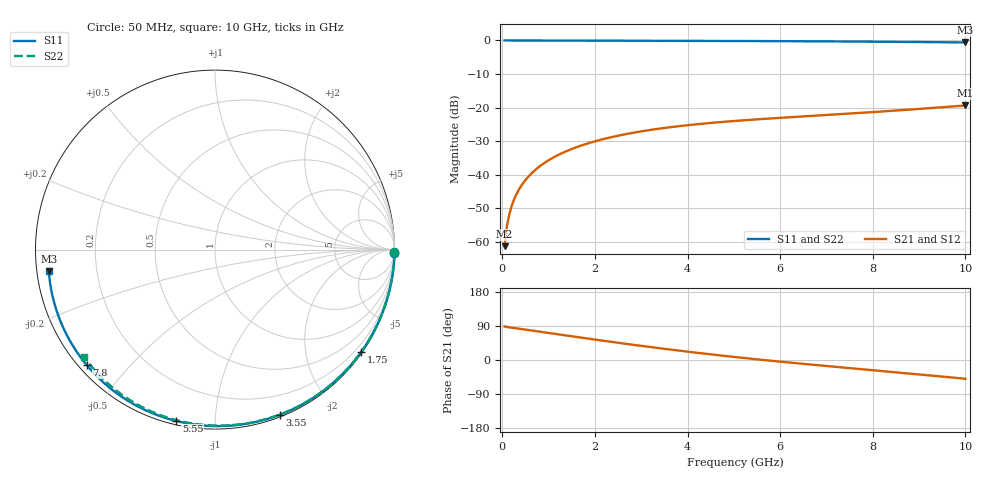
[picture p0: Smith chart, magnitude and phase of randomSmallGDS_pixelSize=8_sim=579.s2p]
! freq	dB(S11)	phase(S11)	dB(S12)	phase(S12)
!  dB(S21)	phase(S21)	dB(S22)	phase(S22)
!S-par simulation data
#  GHz  S  DB  R 50
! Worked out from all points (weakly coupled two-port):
!   200 points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, 50 MHz to 10 GHz, reference 50 ohm
!   highest |S21| = -19.39 dB at 10 GHz (marker M1); lowest = -61.3 dB at 50 MHz (marker M2)
!   lowest |S11| = -0.6 dB at 10 GHz (marker M3), VSWR 29.15, Z = 1.72 - j3.23 ohm
!   |S11| at or under -10 dB: nowhere
!   |S22| runs from -0.5 to 0.0 dB; largest |S21 - S12| = 0
!   S11 on the Smith chart (normalised r, x): 50 MHz: open; 1.75 GHz: 0.03, -3.17; 3.55 GHz: 0.02, -1.46; 5.55 GHz: 0.02, -0.80; 7.8 GHz: 0.02, -0.38; 10 GHz: 0.03, -0.06
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0.05  -0.00 -1.0  -61.32 88.5  -61.32 88.5  -0.00 -0.8
0.1  -0.00 -2.0  -55.36 87.3  -55.36 87.3  -0.00 -1.7
0.15  -0.00 -3.1  -51.89 86.2  -51.89 86.2  -0.00 -2.5
0.2  -0.00 -4.1  -49.44 85.3  -49.44 85.3  -0.00 -3.3
0.25  -0.00 -5.1  -47.54 84.4  -47.54 84.4  -0.00 -4.1
0.35  -0.01 -7.1  -44.67 82.7  -44.67 82.7  -0.00 -5.8
0.5  -0.01 -10.2  -41.61 80.2  -41.61 80.2  -0.01 -8.3
0.7  -0.02 -14.2  -38.74 76.7  -38.74 76.7  -0.01 -11.5
1  -0.03 -20.2  -35.71 71.4  -35.71 71.4  -0.02 -16.4
1.35  -0.04 -27.1  -33.21 65.2  -33.21 65.2  -0.03 -22.1
1.75  -0.05 -35.0  -31.12 58.2  -31.12 58.2  -0.04 -28.5
2.6  -0.07 -51.2  -28.10 43.8  -28.10 43.8  -0.06 -41.9
3.4  -0.10 -66.0  -26.27 31.0  -26.27 31.0  -0.08 -54.1
3.55  -0.10 -68.7  -25.99 28.7  -25.99 28.7  -0.09 -56.3
4.3  -0.13 -81.8  -24.84 17.7  -24.84 17.7  -0.11 -67.3
5.05  -0.16 -94.5  -23.96 7.5  -23.96 7.5  -0.13 -77.9
5.55  -0.18 -102.7  -23.47 1.1  -23.47 1.1  -0.15 -84.8
6.7  -0.25 -121.0  -22.48 -12.4  -22.48 -12.4  -0.21 -100.0
7.8  -0.34 -138.0  -21.54 -24.5  -21.54 -24.5  -0.29 -113.9
8.35  -0.39 -146.5  -21.04 -30.5  -21.04 -30.5  -0.33 -120.7
9.2  -0.49 -159.7  -20.21 -40.1  -20.21 -40.1  -0.42 -131.0
10  -0.60 -172.6  -19.39 -49.6  -19.39 -49.6  -0.51 -140.7
